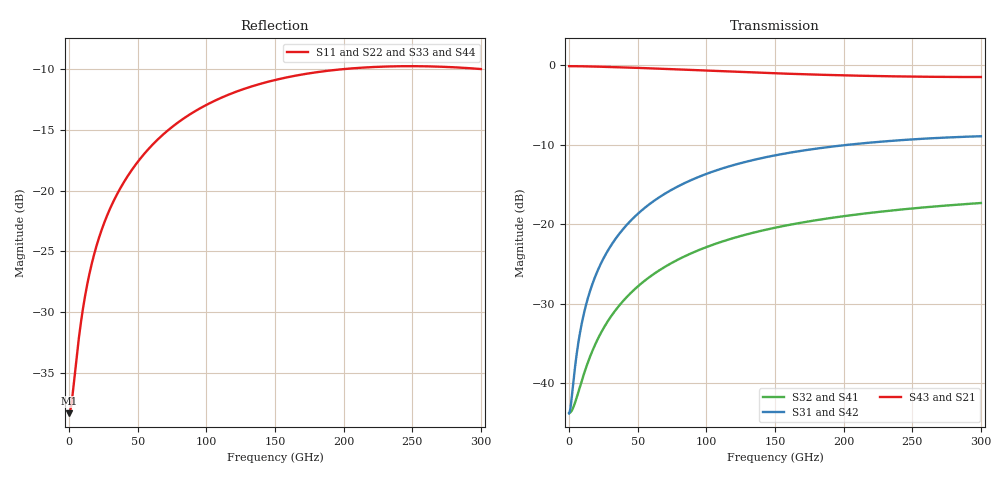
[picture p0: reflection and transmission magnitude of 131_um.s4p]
! Created with skrf (http://scikit-rf.org).
# Hz S RI R 50.0
!freq ReS11 ImS11 ReS12 ImS12 ReS13 ImS13
! ReS14 ImS14
! ReS21 ImS21 ReS22 ImS22 ReS23 ImS23
! ReS24 ImS24
! ReS31 ImS31 ReS32 ImS32 ReS33 ImS33
! ReS34 ImS34
! ReS41 ImS41 ReS42 ImS42 ReS43 ImS43
! ReS44 ImS44
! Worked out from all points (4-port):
!   3000 points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, 100 MHz to 300 GHz, reference 50 ohm
!   strongest paths, dB at 100 MHz, 75.1 GHz, 150.1 GHz, 225.1 GHz, 300 GHz:
!     S43: -0.1, -0.5, -1.0, -1.4, -1.5
!     S21: -0.1, -0.5, -1.0, -1.4, -1.5
!     S31: -43.8, -15.6, -11.3, -9.6, -8.9
!     S42: -43.8, -15.6, -11.3, -9.6, -8.9
!     S32: -43.7, -24.8, -20.4, -18.4, -17.3
!     S41: -43.7, -24.8, -20.4, -18.4, -17.3
!   lowest |S11| = -38.3 dB at 100 MHz (marker M1), VSWR 1.02, Z = 51.2 + j0.0296 ohm
!   |S11| at or under -10 dB: start of sweep to 202.3 GHz; 297.9 GHz to end of sweep
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1e8  0.0122 0.000289  0.9879 -0.000698  0.00649 0.000242  -0.00652 -7.7e-05
     0.9879 -0.000698  0.0122 0.000287  -0.00651 -7.67e-05  0.00649 0.000242
     0.00649 0.000242  -0.00652 -7.7e-05  0.0122 0.000289  0.9879 -0.000698
     -0.00651 -7.67e-05  0.00649 0.000242  0.9879 -0.000698  0.0122 0.000287
9.3e9  0.0149 0.0264  0.9842 -0.0645  0.00822 0.0224  -0.00763 -0.00703
       0.9842 -0.0645  0.0149 0.0263  -0.00763 -0.00701  0.00821 0.0223
       0.00822 0.0224  -0.00763 -0.00703  0.0149 0.0264  0.9842 -0.0645
       -0.00763 -0.00701  0.00821 0.0223  0.9842 -0.0645  0.0149 0.0263
2.01e10  0.0239 0.0544  0.972 -0.1364  0.0143 0.0473  -0.0115 -0.0143
         0.972 -0.1364  0.0239 0.0542  -0.0115 -0.0143  0.0142 0.0472
         0.0143 0.0473  -0.0115 -0.0143  0.0239 0.0544  0.972 -0.1364
         -0.0115 -0.0143  0.0142 0.0472  0.972 -0.1364  0.0239 0.0542
3.84e10  0.0469 0.0934  0.9386 -0.2494  0.0326 0.0852  -0.0226 -0.0229
         0.9386 -0.2494  0.0469 0.0931  -0.0226 -0.0228  0.0325 0.0851
         0.0326 0.0852  -0.0226 -0.0229  0.0469 0.0934  0.9386 -0.2494
         -0.0226 -0.0228  0.0325 0.0851  0.9386 -0.2494  0.0469 0.0931
6.48e10  0.0911 0.1344  0.8677 -0.3955  0.0726 0.127  -0.0444 -0.0247
         0.8676 -0.3954  0.0909 0.134  -0.0443 -0.0245  0.0724 0.127
         0.0726 0.127  -0.0444 -0.0247  0.0911 0.1344  0.8677 -0.3955
         -0.0443 -0.0245  0.0724 0.127  0.8676 -0.3954  0.0909 0.134
1.733e11  0.2753 0.1241  0.4369 -0.7616  0.2617 0.1334  -0.076 0.0709
          0.4371 -0.7611  0.2749 0.1234  -0.0757 0.0711  0.2613 0.1337
          0.2617 0.1334  -0.076 0.0709  0.2753 0.1241  0.4369 -0.7616
          -0.0757 0.0711  0.2613 0.1337  0.4371 -0.7611  0.2749 0.1234
3e11  0.3145 -0.0259  -0.1158 -0.8367  0.3574 -0.026  0.066 0.1192
      -0.1151 -0.8365  0.3144 -0.027  0.0665 0.1192  0.3575 -0.025
      0.3574 -0.026  0.066 0.1192  0.3145 -0.0259  -0.1158 -0.8367
      0.0665 0.1192  0.3575 -0.025  -0.1151 -0.8365  0.3144 -0.027
